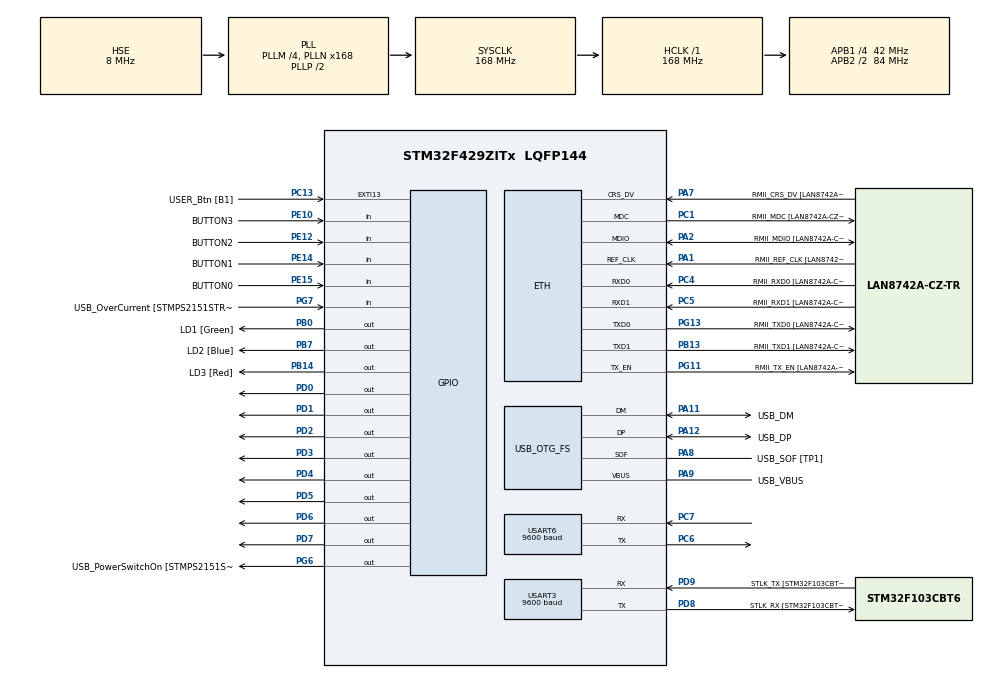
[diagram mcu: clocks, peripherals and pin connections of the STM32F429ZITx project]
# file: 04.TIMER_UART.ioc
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ETH.MediaInterface=HAL_ETH_RMII_MODE
ETH.PHY_Name=LAN8742A_PHY_ADDRESS
ETH.PHY_Value=0
ETH.PhyAddress=0
Mcu.Family=STM32F4
Mcu.Name=STM32F429ZITx
Mcu.Package=LQFP144
NVIC.PriorityGroup=NVIC_PRIORITYGROUP_4
NVIC.USART3_IRQn=true\:0\:0\:false\:false\:true\:true\:true\:true
NVIC.USART6_IRQn=true\:0\:0\:false\:false\:true\:true\:true\:true
PA1.GPIO_Label=RMII_REF_CLK [LAN8742A-CZ-TR_REFCLK0]
PA1.Mode=RMII
PA1.Signal=ETH_REF_CLK
PA10.GPIO_Label=USB_ID
PA10.Signal=USB_OTG_FS_ID
PA11.GPIO_Label=USB_DM
PA11.Mode=Device_Only
PA11.Signal=USB_OTG_FS_DM
PA12.GPIO_Label=USB_DP
PA12.Mode=Device_Only
PA12.Signal=USB_OTG_FS_DP
PA13.GPIO_Label=TMS
PA13.Mode=Serial_Wire
PA13.Signal=SYS_JTMS-SWDIO
PA14.GPIO_Label=TCK
PA14.Mode=Serial_Wire
PA14.Signal=SYS_JTCK-SWCLK
PA2.GPIO_Label=RMII_MDIO [LAN8742A-CZ-TR_MDIO]
PA2.Mode=RMII
PA2.Signal=ETH_MDIO
PA7.GPIO_Label=RMII_CRS_DV [LAN8742A-CZ-TR_CRS_DV]
PA7.Mode=RMII
PA7.Signal=ETH_CRS_DV
PA8.GPIO_Label=USB_SOF [TP1]
PA8.Mode=Activate_SOF_FS
PA8.Signal=USB_OTG_FS_SOF
PA9.GPIO_Label=USB_VBUS
PA9.Mode=Activate_VBUS
PA9.Signal=USB_OTG_FS_VBUS
PB0.GPIO_Label=LD1 [Green]
PB0.Signal=GPIO_Output
PB13.GPIO_Label=RMII_TXD1 [LAN8742A-CZ-TR_TXD1]
PB13.Mode=RMII
PB13.Signal=ETH_TXD1
PB14.GPIO_Label=LD3 [Red]
PB14.Signal=GPIO_Output
PB7.GPIO_Label=LD2 [Blue]
PB7.Signal=GPIO_Output
PC1.GPIO_Label=RMII_MDC [LAN8742A-CZ-TR_MDC]
PC1.Mode=RMII
PC1.Signal=ETH_MDC
PC13.GPIO_Label=USER_Btn [B1]
PC13.Signal=GPXTI13
PC14/OSC32_IN.Mode=LSE-External-Oscillator
PC14/OSC32_IN.Signal=RCC_OSC32_IN
PC15/OSC32_OUT.Mode=LSE-External-Oscillator
PC15/OSC32_OUT.Signal=RCC_OSC32_OUT
PC4.GPIO_Label=RMII_RXD0 [LAN8742A-CZ-TR_RXD0]
PC4.Mode=RMII
PC4.Signal=ETH_RXD0
PC5.GPIO_Label=RMII_RXD1 [LAN8742A-CZ-TR_RXD1]
PC5.Mode=RMII
PC5.Signal=ETH_RXD1
PC6.Mode=Asynchronous
PC6.Signal=USART6_TX
PC7.Mode=Asynchronous
PC7.Signal=USART6_RX
PD0.Signal=GPIO_Output
PD1.Signal=GPIO_Output
PD2.Signal=GPIO_Output
PD3.Signal=GPIO_Output
PD4.Signal=GPIO_Output
PD5.Signal=GPIO_Output
PD6.Signal=GPIO_Output
PD7.Signal=GPIO_Output
PD8.GPIO_Label=STLK_RX [STM32F103CBT6_PA3]
PD8.Mode=Asynchronous
PD8.Signal=USART3_TX
PD9.GPIO_Label=STLK_TX [STM32F103CBT6_PA2]
PD9.Mode=Asynchronous
PD9.Signal=USART3_RX
PE10.GPIO_Label=BUTTON3
PE10.Signal=GPIO_Input
PE12.GPIO_Label=BUTTON2
PE12.Signal=GPIO_Input
PE14.GPIO_Label=BUTTON1
PE14.Signal=GPIO_Input
PE15.GPIO_Label=BUTTON0
PE15.Signal=GPIO_Input
PG11.GPIO_Label=RMII_TX_EN [LAN8742A-CZ-TR_TXEN]
PG11.Mode=RMII
PG11.Signal=ETH_TX_EN
PG13.GPIO_Label=RMII_TXD0 [LAN8742A-CZ-TR_TXD0]
PG13.Mode=RMII
PG13.Signal=ETH_TXD0
PG6.GPIO_Label=USB_PowerSwitchOn [STMPS2151STR_EN]
PG6.Signal=GPIO_Output
PG7.GPIO_Label=USB_OverCurrent [STMPS2151STR_FAULT]
PG7.Signal=GPIO_Input
PH0/OSC_IN.GPIO_Label=MCO [STM32F103CBT6_PA8]
PH0/OSC_IN.Mode=HSE-External-Clock-Source
PH0/OSC_IN.Signal=RCC_OSC_IN
PH1/OSC_OUT.Mode=HSE-External-Clock-Source
PH1/OSC_OUT.Signal=RCC_OSC_OUT
ProjectManager.HeapSize=0x200
ProjectManager.StackSize=0x400
ProjectManager.TargetToolchain=STM32CubeIDE
RCC.48MHZClocksFreq_Value=48000000
RCC.AHBFreq_Value=168000000
RCC.APB1CLKDivider=RCC_HCLK_DIV4
RCC.APB1Freq_Value=42000000
RCC.APB1TimFreq_Value=84000000
RCC.APB2CLKDivider=RCC_HCLK_DIV2
RCC.APB2Freq_Value=84000000
RCC.APB2TimCLKDivider=2
RCC.APB2TimFreq_Value=168000000
RCC.CortexFreq_Value=168000000
RCC.HCLKFreq_Value=168000000
RCC.HSE_VALUE=8000000
RCC.HSI_VALUE=16000000
RCC.PLLM=4
RCC.PLLMUL=RCC_PLL_MUL9
RCC.PLLN=168
RCC.PLLQ=7
RCC.PRESCALERUSB=RCC_USBCLKSOURCE_PLL_DIV1_5
RCC.SYSCLKFreq_VALUE=168000000
RCC.SYSCLKSource=RCC_SYSCLKSOURCE_PLLCLK
RCC.SYSCLKSourceVirtual=RCC_SYSCLKSOURCE_PLLCLK
RCC.USBFreq_Value=48000000
RCC.VCOOutputFreq_Value=336000000
USART3.BaudRate=9600
USART3.VirtualMode=VM_ASYNC
USART6.BaudRate=9600
USART6.VirtualMode=VM_ASYNC
USB_OTG_FS.VirtualMode=Device_Only
board=NUCLEO-F429ZI

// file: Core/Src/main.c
/* USER CODE BEGIN Header */
/**
  ******************************************************************************
  * @file           : main.c
  * @brief          : Main program body
  ******************************************************************************
  * @attention
  *
  * Copyright (c) 2023 STMicroelectronics.
  * All rights reserved.
  *
  * This software is licensed under terms that can be found in the LICENSE file
  * in the root directory of this software component.
  * If no LICENSE file comes with this software, it is provided AS-IS.
  *
  ******************************************************************************
  */
/* USER CODE END Header */
#include "main.h"
#include "string.h"

ETH_TxPacketConfig TxConfig;
ETH_DMADescTypeDef  DMARxDscrTab[ETH_RX_DESC_CNT]; /* Ethernet Rx DMA Descriptors */
ETH_DMADescTypeDef  DMATxDscrTab[ETH_TX_DESC_CNT]; /* Ethernet Tx DMA Descriptors */

ETH_HandleTypeDef heth;

UART_HandleTypeDef huart3;
UART_HandleTypeDef huart6;

PCD_HandleTypeDef hpcd_USB_OTG_FS;

/* USER CODE BEGIN PV */
uint8_t rx_data; //uart3 rx data
uint8_t bt_rx_data; //uart6 bt rx data
/* USER CODE END PV */

void SystemClock_Config(void);
static void MX_GPIO_Init(void);
static void MX_ETH_Init(void);
static void MX_USART3_UART_Init(void);
static void MX_USB_OTG_FS_PCD_Init(void);
static void MX_USART6_UART_Init(void);
/* USER CODE BEGIN PFP */
extern void led_main(void);
extern void bt_command_processing(void);
extern void pc_command_processing(void);

/* USER CODE END PFP */

/* USER CODE BEGIN 0 */
// call by SysTick_Handler of stm32f4xx_it.c
// ARM default timer
// enter here every 1ms
volatile int t1ms_count = 0; //volatile : disable optimize
void HAL_SYSTICK_Handler(void)
{
	t1ms_count++;

}
//----------  printf start ----------
#ifdef __GNUC__
/* With GCC, small printf (option LD Linker->Libraries->Small printf
   set to 'Yes') calls __io_putchar() */
#define PUTCHAR_PROTOTYPE int __io_putchar(int ch)
#else
#define PUTCHAR_PROTOTYPE int fputc(int ch, FILE *f)
#endif /* __GNUC_ */
/**
  * @brief  Retargets the C library printf function to the USART.
  * @param  None
  * @retval None
  */
PUTCHAR_PROTOTYPE   // Add for printf
{
  /* Place your implementation of fputc here */
  /* e.g. write a character to the USART3 and Loop until the end of transmission */
  HAL_UART_Transmit(&huart3, (uint8_t *)&ch, 1, 0xFFFF);

  return ch;
}
//----------  printf end ----------
/* USER CODE END 0 */

int main(void)
{

  /* MCU Configuration--------------------------------------------------------*/

  /* Reset of all peripherals, Initializes the Flash interface and the Systick. */
  HAL_Init();

  /* Configure the system clock */
  SystemClock_Config();

  /* Initialize all configured peripherals */
  MX_GPIO_Init();
  MX_ETH_Init();
  MX_USART3_UART_Init();
  MX_USB_OTG_FS_PCD_Init();
  MX_USART6_UART_Init();
  /* USER CODE BEGIN 2 */
  HAL_UART_Receive_IT(&huart3, &rx_data, 1); // assing to RX INT
  HAL_UART_Receive_IT(&huart6, &bt_rx_data, 1);// for BT assing to RX INT

printf("led_main() start\n");
// led_main();
  /* USER CODE END 2 */

  /* Infinite loop */
  /* USER CODE BEGIN WHILE */
  while (1)
  {

	  pc_command_processing();
//	  bt_command_processing();
    /* USER CODE END WHILE */

  }
}

void SystemClock_Config(void)
{
  RCC_OscInitTypeDef RCC_OscInitStruct = {0};
  RCC_ClkInitTypeDef RCC_ClkInitStruct = {0};

  /** Configure the main internal regulator output voltage
  */
  __HAL_RCC_PWR_CLK_ENABLE();
  __HAL_PWR_VOLTAGESCALING_CONFIG(PWR_REGULATOR_VOLTAGE_SCALE1);

  /** Initializes the RCC Oscillators according to the specified parameters
  * in the RCC_OscInitTypeDef structure.
  */
  RCC_OscInitStruct.OscillatorType = RCC_OSCILLATORTYPE_HSE;
  RCC_OscInitStruct.HSEState = RCC_HSE_BYPASS;
  RCC_OscInitStruct.PLL.PLLState = RCC_PLL_ON;
  RCC_OscInitStruct.PLL.PLLSource = RCC_PLLSOURCE_HSE;
  RCC_OscInitStruct.PLL.PLLM = 4;
  RCC_OscInitStruct.PLL.PLLN = 168;
  RCC_OscInitStruct.PLL.PLLP = RCC_PLLP_DIV2;
  RCC_OscInitStruct.PLL.PLLQ = 7;
  if (HAL_RCC_OscConfig(&RCC_OscInitStruct) != HAL_OK)
  {
    Error_Handler();
  }

  /** Initializes the CPU, AHB and APB buses clocks
  */
  RCC_ClkInitStruct.ClockType = RCC_CLOCKTYPE_HCLK|RCC_CLOCKTYPE_SYSCLK
                              |RCC_CLOCKTYPE_PCLK1|RCC_CLOCKTYPE_PCLK2;
  RCC_ClkInitStruct.SYSCLKSource = RCC_SYSCLKSOURCE_PLLCLK;
  RCC_ClkInitStruct.AHBCLKDivider = RCC_SYSCLK_DIV1;
  RCC_ClkInitStruct.APB1CLKDivider = RCC_HCLK_DIV4;
  RCC_ClkInitStruct.APB2CLKDivider = RCC_HCLK_DIV2;

  if (HAL_RCC_ClockConfig(&RCC_ClkInitStruct, FLASH_LATENCY_5) != HAL_OK)
  {
    Error_Handler();
  }
}

static void MX_ETH_Init(void)
{

   static uint8_t MACAddr[6];

  heth.Instance = ETH;
  MACAddr[0] = 0x00;
  MACAddr[1] = 0x80;
  MACAddr[2] = 0xE1;
  MACAddr[3] = 0x00;
  MACAddr[4] = 0x00;
  MACAddr[5] = 0x00;
  heth.Init.MACAddr = &MACAddr[0];
  heth.Init.MediaInterface = HAL_ETH_RMII_MODE;
  heth.Init.TxDesc = DMATxDscrTab;
  heth.Init.RxDesc = DMARxDscrTab;
  heth.Init.RxBuffLen = 1524;

  if (HAL_ETH_Init(&heth) != HAL_OK)
  {
    Error_Handler();
  }

  memset(&TxConfig, 0 , sizeof(ETH_TxPacketConfig));
  TxConfig.Attributes = ETH_TX_PACKETS_FEATURES_CSUM | ETH_TX_PACKETS_FEATURES_CRCPAD;
  TxConfig.ChecksumCtrl = ETH_CHECKSUM_IPHDR_PAYLOAD_INSERT_PHDR_CALC;
  TxConfig.CRCPadCtrl = ETH_CRC_PAD_INSERT;

}

static void MX_USART3_UART_Init(void)
{

  huart3.Instance = USART3;
  huart3.Init.BaudRate = 9600;
  huart3.Init.WordLength = UART_WORDLENGTH_8B;
  huart3.Init.StopBits = UART_STOPBITS_1;
  huart3.Init.Parity = UART_PARITY_NONE;
  huart3.Init.Mode = UART_MODE_TX_RX;
  huart3.Init.HwFlowCtl = UART_HWCONTROL_NONE;
  huart3.Init.OverSampling = UART_OVERSAMPLING_16;
  if (HAL_UART_Init(&huart3) != HAL_OK)
  {
    Error_Handler();
  }

}

static void MX_USART6_UART_Init(void)
{

  huart6.Instance = USART6;
  huart6.Init.BaudRate = 9600;
  huart6.Init.WordLength = UART_WORDLENGTH_8B;
  huart6.Init.StopBits = UART_STOPBITS_1;
  huart6.Init.Parity = UART_PARITY_NONE;
  huart6.Init.Mode = UART_MODE_TX_RX;
  huart6.Init.HwFlowCtl = UART_HWCONTROL_NONE;
  huart6.Init.OverSampling = UART_OVERSAMPLING_16;
  if (HAL_UART_Init(&huart6) != HAL_OK)
  {
    Error_Handler();
  }

}

static void MX_USB_OTG_FS_PCD_Init(void)
{

  hpcd_USB_OTG_FS.Instance = USB_OTG_FS;
  hpcd_USB_OTG_FS.Init.dev_endpoints = 4;
  hpcd_USB_OTG_FS.Init.speed = PCD_SPEED_FULL;
  hpcd_USB_OTG_FS.Init.dma_enable = DISABLE;
  hpcd_USB_OTG_FS.Init.phy_itface = PCD_PHY_EMBEDDED;
  hpcd_USB_OTG_FS.Init.Sof_enable = ENABLE;
  hpcd_USB_OTG_FS.Init.low_power_enable = DISABLE;
  hpcd_USB_OTG_FS.Init.lpm_enable = DISABLE;
  hpcd_USB_OTG_FS.Init.vbus_sensing_enable = ENABLE;
  hpcd_USB_OTG_FS.Init.use_dedicated_ep1 = DISABLE;
  if (HAL_PCD_Init(&hpcd_USB_OTG_FS) != HAL_OK)
  {
    Error_Handler();
  }

}

static void MX_GPIO_Init(void)
{
  GPIO_InitTypeDef GPIO_InitStruct = {0};

  /* GPIO Ports Clock Enable */
  __HAL_RCC_GPIOC_CLK_ENABLE();
  __HAL_RCC_GPIOH_CLK_ENABLE();
  __HAL_RCC_GPIOA_CLK_ENABLE();
  __HAL_RCC_GPIOB_CLK_ENABLE();
  __HAL_RCC_GPIOE_CLK_ENABLE();
  __HAL_RCC_GPIOD_CLK_ENABLE();
  __HAL_RCC_GPIOG_CLK_ENABLE();

  /*Configure GPIO pin Output Level */
  HAL_GPIO_WritePin(GPIOB, LD1_Pin|LD3_Pin|LD2_Pin, GPIO_PIN_RESET);

  /*Configure GPIO pin Output Level */
  HAL_GPIO_WritePin(USB_PowerSwitchOn_GPIO_Port, USB_PowerSwitchOn_Pin, GPIO_PIN_RESET);

  /*Configure GPIO pin Output Level */
  HAL_GPIO_WritePin(GPIOD, GPIO_PIN_0|GPIO_PIN_1|GPIO_PIN_2|GPIO_PIN_3
                          |GPIO_PIN_4|GPIO_PIN_5|GPIO_PIN_6|GPIO_PIN_7, GPIO_PIN_RESET);

  /*Configure GPIO pin : USER_Btn_Pin */
  GPIO_InitStruct.Pin = USER_Btn_Pin;
  GPIO_InitStruct.Mode = GPIO_MODE_IT_RISING;
  GPIO_InitStruct.Pull = GPIO_NOPULL;
  HAL_GPIO_Init(USER_Btn_GPIO_Port, &GPIO_InitStruct);

  /*Configure GPIO pins : LD1_Pin LD3_Pin LD2_Pin */
  GPIO_InitStruct.Pin = LD1_Pin|LD3_Pin|LD2_Pin;
  GPIO_InitStruct.Mode = GPIO_MODE_OUTPUT_PP;
  GPIO_InitStruct.Pull = GPIO_NOPULL;
  GPIO_InitStruct.Speed = GPIO_SPEED_FREQ_LOW;
  HAL_GPIO_Init(GPIOB, &GPIO_InitStruct);

  /*Configure GPIO pins : BUTTON3_Pin BUTTON2_Pin BUTTON1_Pin BUTTON0_Pin */
  GPIO_InitStruct.Pin = BUTTON3_Pin|BUTTON2_Pin|BUTTON1_Pin|BUTTON0_Pin;
  GPIO_InitStruct.Mode = GPIO_MODE_INPUT;
  GPIO_InitStruct.Pull = GPIO_NOPULL;
  HAL_GPIO_Init(GPIOE, &GPIO_InitStruct);

  /*Configure GPIO pin : USB_PowerSwitchOn_Pin */
  GPIO_InitStruct.Pin = USB_PowerSwitchOn_Pin;
  GPIO_InitStruct.Mode = GPIO_MODE_OUTPUT_PP;
  GPIO_InitStruct.Pull = GPIO_NOPULL;
  GPIO_InitStruct.Speed = GPIO_SPEED_FREQ_LOW;
  HAL_GPIO_Init(USB_PowerSwitchOn_GPIO_Port, &GPIO_InitStruct);

  /*Configure GPIO pin : USB_OverCurrent_Pin */
  GPIO_InitStruct.Pin = USB_OverCurrent_Pin;
  GPIO_InitStruct.Mode = GPIO_MODE_INPUT;
  GPIO_InitStruct.Pull = GPIO_NOPULL;
  HAL_GPIO_Init(USB_OverCurrent_GPIO_Port, &GPIO_InitStruct);

  /*Configure GPIO pins : PD0 PD1 PD2 PD3
                           PD4 PD5 PD6 PD7 */
  GPIO_InitStruct.Pin = GPIO_PIN_0|GPIO_PIN_1|GPIO_PIN_2|GPIO_PIN_3
                          |GPIO_PIN_4|GPIO_PIN_5|GPIO_PIN_6|GPIO_PIN_7;
  GPIO_InitStruct.Mode = GPIO_MODE_OUTPUT_PP;
  GPIO_InitStruct.Pull = GPIO_NOPULL;
  GPIO_InitStruct.Speed = GPIO_SPEED_FREQ_LOW;
  HAL_GPIO_Init(GPIOD, &GPIO_InitStruct);

}

void Error_Handler(void)
{
  __disable_irq();
  while (1)
  {
  }
}
